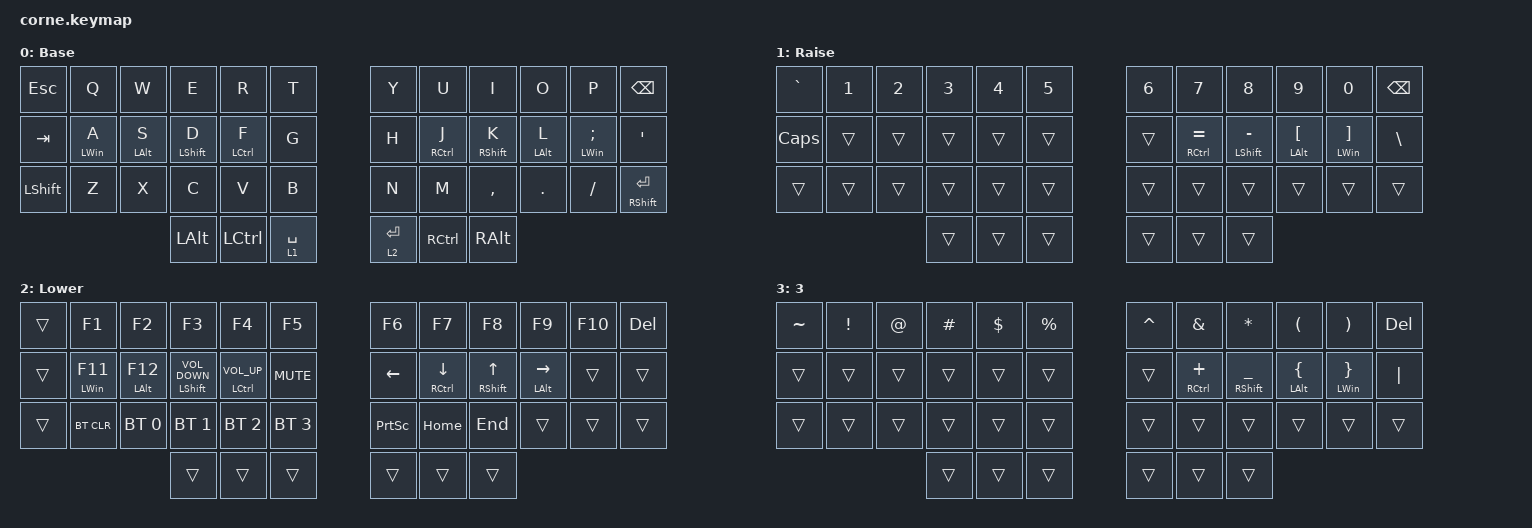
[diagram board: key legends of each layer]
/*
 * Copyright (c) 2020 The ZMK Contributors
 *
 * SPDX-License-Identifier: MIT
 */

#include <behaviors.dtsi>
#include <dt-bindings/zmk/bt.h>
#include <dt-bindings/zmk/keys.h>

/ {
    behaviors {
        ht_tp: ht_tp {
            compatible = "zmk,behavior-hold-tap";
            label = "HT_TP";
            bindings = <&kp>, <&kp>;

            #binding-cells = <2>;
            tapping-term-ms = <350>;
            flavor = "tap-preferred";
        };

        home_rows_left: home_rows_left {
            compatible = "zmk,behavior-hold-tap";
            label = "HOME_ROWS_LEFT";
            bindings = <&kp>, <&kp>;

            #binding-cells = <2>;
            flavor = "balanced";
            require-prior-idle-ms = <150>;
            tapping-term-ms = <280>;
            quick-tap-ms = <175>;
            hold-trigger-on-release;
            hold-trigger-key-positions = <6 7 8 9 10 11 18 19 20 21 22 23 30 31 32 33 34 35 39 40 41>;
        };

        home_row_mod_right: home_row_mod_right {
            compatible = "zmk,behavior-hold-tap";
            label = "HOME_ROW_MOD_RIGHT";
            bindings = <&kp>, <&kp>;

            #binding-cells = <2>;
            tapping-term-ms = <280>;
            quick-tap-ms = <175>;
            require-prior-idle-ms = <150>;
            flavor = "balanced";
            hold-trigger-on-release;
            hold-trigger-key-positions = <0 1 2 3 4 5 12 13 14 15 16 17 24 25 26 27 28 29 36 37 38>;
        };
    };

    keymap {
        compatible = "zmk,keymap";

        default_layer {
            // -----------------------------------------------------------------------------------------
            // |  TAB |  Q  |  W  |  E  |  R  |  T  |   |  Y  |  U   |  I  |  O  |  P  | BKSP |
            // | CTRL |  A  |  S  |  D  |  F  |  G  |   |  H  |  J   |  K  |  L  |  ;  |  '   |
            // | SHFT |  Z  |  X  |  C  |  V  |  B  |   |  N  |  M   |  ,  |  .  |  /  | ESC  |
            //                    | GUI | LWR | SPC |   | ENT | RSE  | ALT |

            display-name = "Base";
            bindings = <
&kp ESC    &kp Q                       &kp W                       &kp E                         &kp R                           &kp T          &kp Y        &kp U                                &kp I                              &kp O                           &kp P                                   &kp BSPC
&kp TAB    &home_rows_left LEFT_WIN A  &home_rows_left LEFT_ALT S  &home_rows_left LEFT_SHIFT D  &home_rows_left LEFT_CONTROL F  &kp G          &kp H        &home_row_mod_right RIGHT_CONTROL J  &home_row_mod_right RIGHT_SHIFT K  &home_row_mod_right LEFT_ALT L  &home_row_mod_right LEFT_WIN SEMICOLON  &kp SQT
&kp LSHFT  &kp Z                       &kp X                       &kp C                         &kp V                           &kp B          &kp N        &kp M                                &kp COMMA                          &kp DOT                         &kp FSLH                                &mt RIGHT_SHIFT ENTER
                                                                   &kp LEFT_ALT                  &kp LEFT_CONTROL                &lt 1 SPACE    &lt 2 ENTER  &kp RIGHT_CONTROL                    &kp RIGHT_ALT
            >;
        };

        numbers {
            // -----------------------------------------------------------------------------------------
            // |  TAB |  !  |  @  |  #  |  $  |  %  |   |  ^  |  &  |  *  |  (  |  )  | BKSP |
            // | CTRL |     |     |     |     |     |   |  -  |  =  |  [  |  ]  |  \  |  `   |
            // | SHFT |     |     |     |     |     |   |  _  |  +  |  {  |  }  | "|" |  ~   |
            //                    | GUI |     | SPC |   | ENT |     | ALT |

            display-name = "Raise";
            bindings = <
&kp GRAVE  &kp NUMBER_1  &kp NUMBER_2  &kp NUMBER_3  &kp NUMBER_4  &kp N5    &kp NUMBER_6  &kp N7                                   &kp N8                                &kp N9                                     &kp N0                                      &kp BACKSPACE
&kp CAPS   &trans        &trans        &trans        &trans        &trans    &trans        &home_row_mod_right RIGHT_CONTROL EQUAL  &home_row_mod_right LEFT_SHIFT MINUS  &home_row_mod_right LEFT_ALT LEFT_BRACKET  &home_row_mod_right LEFT_WIN RIGHT_BRACKET  &kp BACKSLASH
&trans     &trans        &trans        &trans        &trans        &trans    &trans        &trans                                   &trans                                &trans                                     &trans                                      &trans
                                       &trans        &trans        &trans    &trans        &trans                                   &trans
            >;

            label = "1";
        };

        arrows {
            // -----------------------------------------------------------------------------------------
            // |  TAB |  1  |  2  |  3  |  4  |  5  |   |  6  |  7  |  8  |  9  |  0  | BKSP |
            // | BTCLR| BT1 | BT2 | BT3 | BT4 | BT5 |   | LFT | DWN |  UP | RGT |     |      |
            // | SHFT |     |     |     |     |     |   |     |     |     |     |     |      |
            //                    | GUI |     | SPC |   | ENT |     | ALT |

            display-name = "Lower";
            bindings = <
&trans  &kp F1                        &kp F2                        &kp F3                                    &kp F4                                    &kp F5          &kp F6           &kp F7                                  &kp F8                               &kp F9                              &kp F10  &kp DEL
&trans  &home_rows_left LEFT_WIN F11  &home_rows_left LEFT_ALT F12  &home_rows_left LEFT_SHIFT K_VOLUME_DOWN  &home_rows_left LEFT_CONTROL K_VOLUME_UP  &kp C_MUTE      &kp LEFT         &home_row_mod_right RIGHT_CONTROL DOWN  &home_row_mod_right RSHIFT UP_ARROW  &home_row_mod_right LEFT_ALT RIGHT  &trans   &trans
&trans  &bt BT_CLR                    &bt BT_SEL 0                  &bt BT_SEL 1                              &bt BT_SEL 2                              &bt BT_SEL 3    &kp PRINTSCREEN  &kp HOME                                &kp END                              &trans                              &trans   &trans
                                                                    &trans                                    &trans                                    &trans          &trans           &trans                                  &trans
            >;

            label = "2";
        };

        shiftados {
            bindings = <
&kp TILDE  &kp EXCLAMATION  &kp AT_SIGN  &kp HASH  &kp DOLLAR  &kp PERCENT    &kp CARET  &kp AMPERSAND                           &kp ASTERISK                           &kp LEFT_PARENTHESIS                     &kp RIGHT_PARENTHESIS                     &kp DEL
&trans     &trans           &trans       &trans    &trans      &trans         &trans     &home_row_mod_right RIGHT_CONTROL PLUS  &home_row_mod_right RIGHT_SHIFT UNDER  &home_row_mod_right LEFT_ALT LEFT_BRACE  &home_row_mod_right LEFT_WIN RIGHT_BRACE  &kp PIPE
&trans     &trans           &trans       &trans    &trans      &trans         &trans     &trans                                  &trans                                 &trans                                   &trans                                    &trans
                                         &trans    &trans      &trans         &trans     &trans                                  &trans
            >;

            label = "3";
        };
    };

    conditional_layers {
        compatible = "zmk,conditional-layers";

        shift {
            if-layers = <1 2>;
            then-layer = <3>;
        };
    };
};
